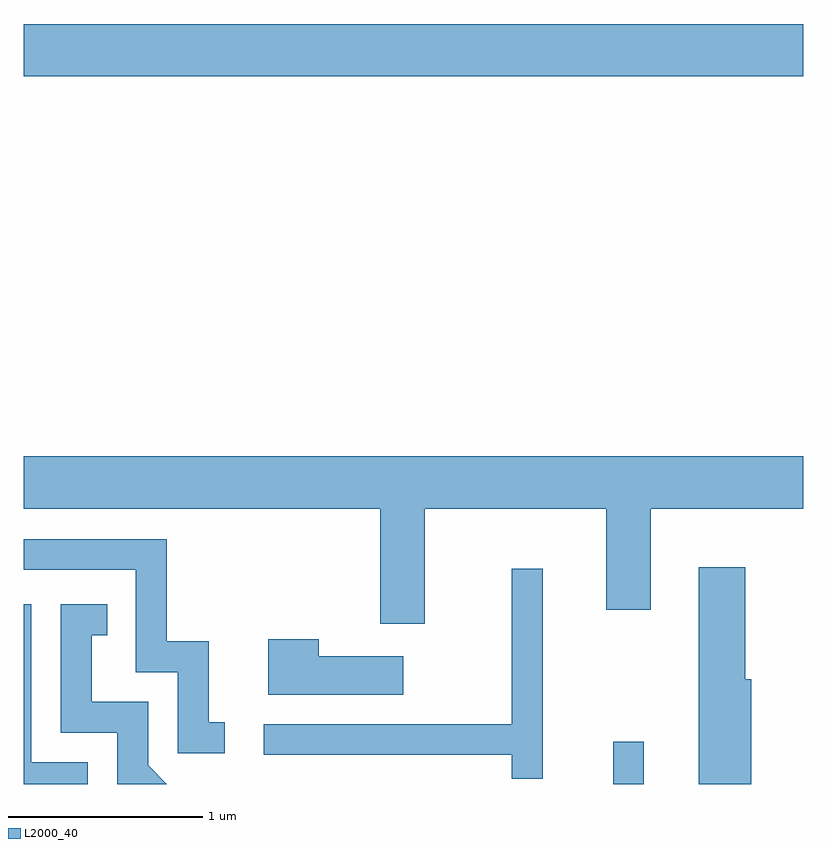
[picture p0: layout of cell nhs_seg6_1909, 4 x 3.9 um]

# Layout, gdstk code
import gdstk
lib = gdstk.Library(unit=1e-6, precision=1e-09)
def R(c, l, rs):  # rectangles x0, y0, x1, y1
    for r in rs: c.add(gdstk.rectangle(r[:2], r[2:], *l))
def P(c, l, *ps):  # polygons
    for p in ps: c.add(gdstk.Polygon(p, *l))
L2000_40 = (2000, 40)

nhs_seg6_1909 = lib.new_cell('nhs_seg6_1909')
R(nhs_seg6_1909, L2000_40, [(246.636,1564.162,246.794,1564.378), (243.611,1567.796,247.611,1568.064)])
P(nhs_seg6_1909, L2000_40, [(245.669,1565.576),(246.601,1565.576),(246.601,1565.056),(246.829,1565.056),(246.829,1565.576),(247.611,1565.576),(247.611,1565.844),(243.611,1565.844),(243.611,1565.576),(245.441,1565.576),(245.441,1564.986),(245.669,1564.986)],
  [(244.643,1564.479),(244.559,1564.479),(244.559,1564.894),(244.344,1564.894),(244.344,1565.419),(243.611,1565.419),(243.611,1565.261),(244.186,1565.261),(244.186,1564.736),(244.401,1564.736),(244.401,1564.321),(244.643,1564.321)],
  [(247.344,1564.699),(247.314,1564.699),(247.314,1565.274),(247.076,1565.274),(247.076,1564.162),(247.344,1564.162)],
  [(246.274,1565.268),(246.116,1565.268),(246.116,1564.469),(244.843,1564.469),(244.843,1564.311),(246.116,1564.311),(246.116,1564.188),(246.274,1564.188)],
  [(244.249,1564.257),(244.249,1564.584),(243.959,1564.584),(243.959,1564.926),(244.038,1564.926),(244.038,1565.084),(243.801,1565.084),(243.801,1564.426),(244.091,1564.426),(244.091,1564.162),(244.344,1564.162)],
  [(243.939,1564.274),(243.649,1564.274),(243.649,1565.084),(243.611,1565.084),(243.611,1564.162),(243.939,1564.162)],
  [(245.559,1564.819),(245.124,1564.819),(245.124,1564.904),(244.866,1564.904),(244.866,1564.621),(245.559,1564.621)])

lib.write_gds('nhs_seg6_1909.gds')
